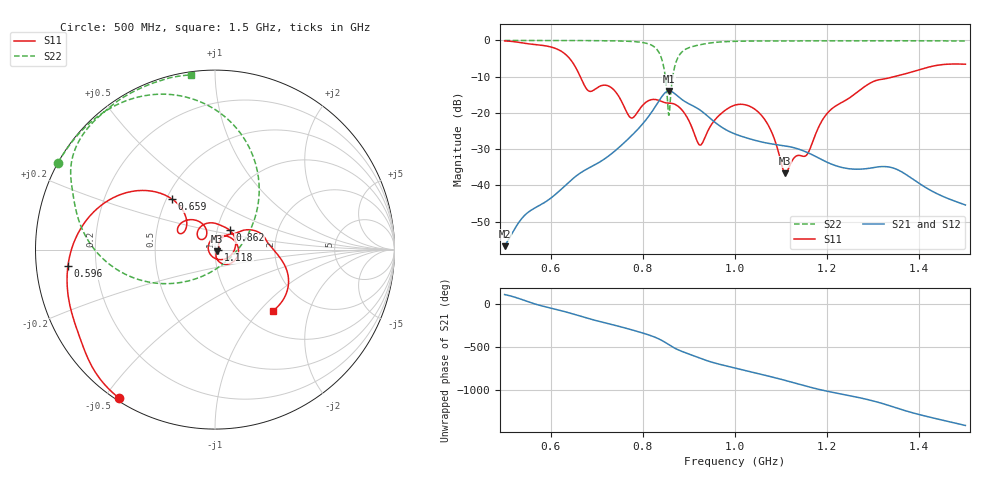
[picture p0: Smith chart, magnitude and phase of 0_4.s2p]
! TOUCHSTONE file generated by CST MICROWAVE STUDIO
! Date and time: Sat Oct 24 11:10:51 2020
! Project name: Scenario_1_Circular_Tissue_in_Line.cst
! Parameters = {L_HA=400; MT=2.54; Rad_Dielectric=30; Rad_Lower=7.3; Rad_Upper=30; a_HA=580; a_WG=246; b_HA=500; b_WG=121; c_HA=0; c_WG=187; d_feed=85; dx1=224.96; h_feed=15; h_lower=18; h_upper=40}
! Header version: 2018
! Port assignment regex: !\s*Touchstone port\s*([0-9]+)\s*=\s*(CST MWS port|CST DS port)\s*([0-9]+|Zmin|Zmax)\s*\(\"(.*)\"\)(\s*mode\s*([0-9]+))?.*
! Touchstone port assignment:
! Touchstone port 1 = CST MWS port 1 ("")
! Touchstone port 2 = CST MWS port 2 ("")
# GHz S DB R 50
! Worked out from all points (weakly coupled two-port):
!   1003 points, 500 MHz to 1.5 GHz, reference 50 ohm
!   highest |S21| = -13.94 dB at 857 MHz (marker M1); lowest = -56.8 dB at 500 MHz (marker M2)
!   lowest |S11| = -36.7 dB at 1.109 GHz (marker M3), VSWR 1.03, Z = 51.2 - j0.886 ohm
!   |S11| at or under -10 dB: 664.2 MHz to 1.345 GHz (681.2 MHz wide, 67.8 % of centre)
!   |S22| runs from -20.6 to 0.0 dB; largest |S21 - S12| = 4.2e-05
!   S11 on the Smith chart (normalised r, x): 500 MHz: 0.01, -0.55; 596 MHz: 0.10, -0.06; 659 MHz: 0.53, +0.35; 862 MHz: 1.15, +0.25; 1.118 GHz: 1.04, -0.00; 1.5 GHz: 1.35, -1.19
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0.5  -0.13 -122.7  -56.79 107.2  -56.79 107.2  -0.01 151.1
0.596  -1.67 -173.6  -43.93 -44.8  -43.93 -44.8  -0.02 144.4
0.634  -4.04 151.9  -39.77 -96.1  -39.77 -96.1  -0.03 141.4
0.659  -8.61 130.4  -37.07 -135.1  -37.07 -135.1  -0.04 139.2
0.667  -10.77 129.1  -36.37 -148.0  -36.37 -148.0  -0.04 138.4
0.732  -13.07 131.8  -31.28 120.3  -31.28 120.3  -0.11 130.6
0.775  -21.41 130.9  -26.36 59.2  -26.36 59.2  -0.27 121.9
0.834  -16.51 95.0  -16.89 -45.8  -16.89 -45.8  -3.11 81.2
0.847  -17.14 76.9  -14.61 -83.2  -14.61 -83.2  -8.52 49.4
0.857  -17.31 62.4  -13.94 -116.9  -13.94 -116.9  -20.61 -64.3
0.862  -17.36 53.3  -14.09 -133.4  -14.09 -133.4  -12.85 -130.1
0.869  -17.60 38.8  -14.66 -154.4  -14.66 -154.4  -7.30 -156.0
0.884  -19.07 3.4  -16.23 169.2  -16.23 169.2  -3.30 178.6
0.924  -28.89 -156.4  -19.20 88.5  -19.20 88.5  -1.20 156.3
1  -17.85 8.7  -25.83 -25.5  -25.83 -25.5  -0.24 140.5
1.062  -21.39 -64.5  -28.15 -105.5  -28.15 -105.5  -0.15 133.2
1.109  -36.69 -36.3  -29.11 -168.9  -29.11 -168.9  -0.13 128.9
1.118  -34.80 -5.1  -29.32 178.0  -29.32 178.0  -0.13 128.2
1.167  -28.53 57.0  -31.52 106.8  -31.52 106.8  -0.10 124.3
1.209  -18.99 48.2  -34.12 55.4  -34.12 55.4  -0.08 121.0
1.334  -10.35 5.3  -34.93 -100.2  -34.93 -100.2  -0.09 111.5
1.5  -6.56 -46.9  -45.43 28.2  -45.40 28.6  -0.15 97.9
